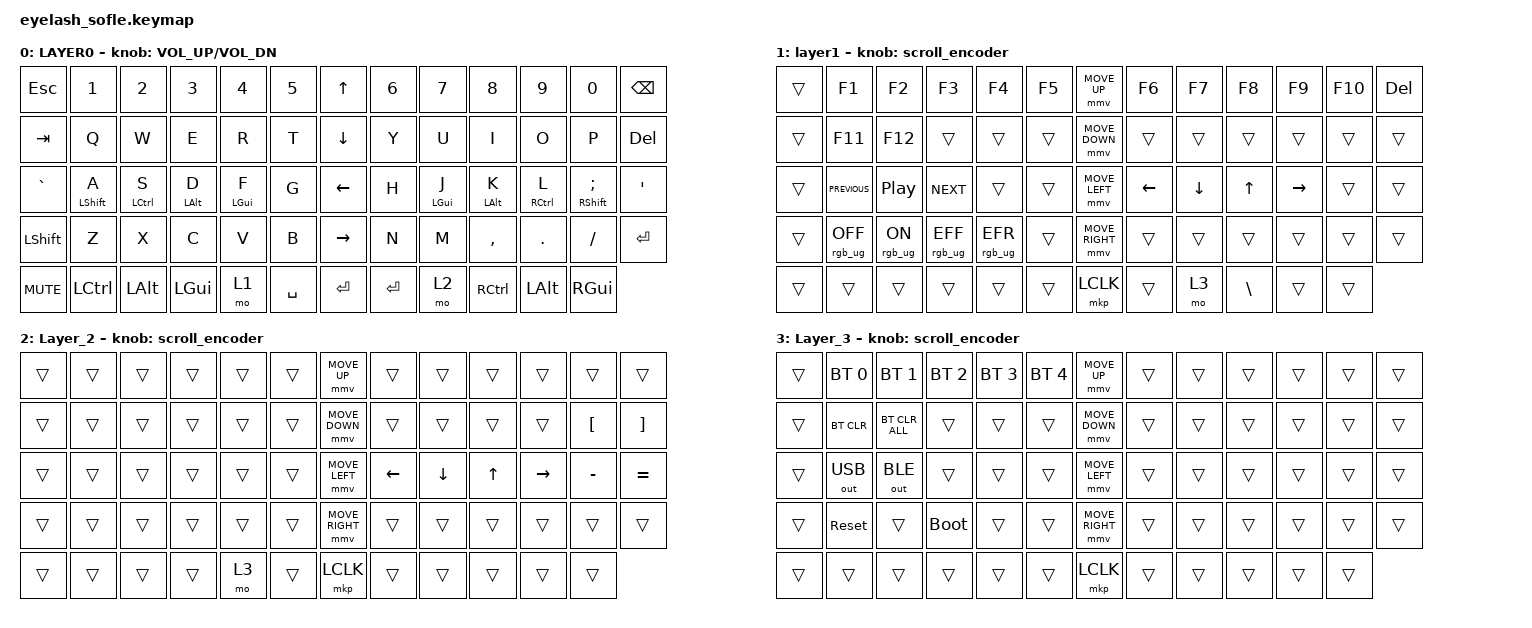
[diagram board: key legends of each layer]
#define ZMK_POINTING_DEFAULT_MOVE_VAL 1200  // 600
#define ZMK_POINTING_DEFAULT_SCRL_VAL 25   // 10

#include <input/processors.dtsi>
#include <zephyr/dt-bindings/input/input-event-codes.h>
#include <behaviors.dtsi>
#include <dt-bindings/zmk/bt.h>
#include <dt-bindings/zmk/keys.h>
#include <dt-bindings/zmk/outputs.h>
#include <dt-bindings/zmk/pointing.h>
#include <dt-bindings/zmk/rgb.h>

&mmv_input_listener { input-processors = <&zip_xy_scaler 2 1>; };

&msc_input_listener { input-processors = <&zip_scroll_scaler 2 1>; };

&msc {
    acceleration-exponent = <1>;      // 0
    time-to-max-speed-ms = <100>;       // 300
    delay-ms = <0>;                   // 0
};

&mmv {
    time-to-max-speed-ms = <500>;
    acceleration-exponent = <1>;
    trigger-period-ms = <16>;
};

&mt { flavor = "balanced"; };

/ {
    scroll_encoder: scroll_encoder {
        compatible = "zmk,behavior-sensor-rotate";
        #sensor-binding-cells = <0>;
        bindings = <&msc SCRL_DOWN>, <&msc SCRL_UP>;

        tap-ms = <100>;
    };

    behaviors {
    };

    keymap {
        compatible = "zmk,keymap";

        Layer_0 {
            bindings = <
&kp ESC     &kp N1            &kp N2              &kp N3          &kp N4          &kp N5       &kp UP_ARROW     &kp N6   &kp N7          &kp N8             &kp N9               &kp N0                     &kp BACKSPACE
&kp TAB     &kp Q             &kp W               &kp E           &kp R           &kp T        &kp DOWN_ARROW   &kp Y    &kp U           &kp I              &kp O                &kp P                      &kp DELETE
&kp GRAVE   &mt LEFT_SHIFT A  &mt LEFT_CONTROL S  &mt LEFT_ALT D  &mt LEFT_GUI F  &kp G        &kp LEFT_ARROW   &kp H    &mt LEFT_GUI J  &mt LEFT_ALT K     &mt RIGHT_CONTROL L  &mt RIGHT_SHIFT SEMICOLON  &kp APOS
&kp LSHFT   &kp Z             &kp X               &kp C           &kp V           &kp B        &kp RIGHT_ARROW  &kp N    &kp M           &kp COMMA          &kp DOT              &kp FSLH                   &kp ENTER
&kp C_MUTE  &kp LCTRL         &kp LEFT_ALT        &kp LEFT_GUI    &mo 1           &kp SPACE    &kp ENTER        &kp RET  &mo 2           &kp RIGHT_CONTROL  &kp LEFT_ALT         &kp RIGHT_GUI
            >;

            sensor-bindings = <&inc_dec_kp C_VOLUME_UP C_VOL_DN>;
            display-name = "LAYER0";
        };

        Layer_1 {
            bindings = <
&trans  &kp F1           &kp F2            &kp F3           &kp F4           &kp F5    &mmv MOVE_UP     &kp F6    &kp F7    &kp F8         &kp F9     &kp F10  &kp DELETE
&trans  &kp F11          &kp F12           &trans           &trans           &trans    &mmv MOVE_DOWN   &trans    &trans    &trans         &trans     &trans   &trans
&trans  &kp C_PREVIOUS   &kp C_PLAY_PAUSE  &kp C_NEXT       &trans           &trans    &mmv MOVE_LEFT   &kp LEFT  &kp DOWN  &kp UP_ARROW   &kp RIGHT  &trans   &trans
&trans  &rgb_ug RGB_OFF  &rgb_ug RGB_ON    &rgb_ug RGB_EFF  &rgb_ug RGB_EFR  &trans    &mmv MOVE_RIGHT  &trans    &trans    &trans         &trans     &trans   &trans
&trans  &trans           &trans            &trans           &trans           &trans    &mkp LCLK        &trans    &mo 3     &kp BACKSLASH  &trans     &trans
            >;

            display-name = "layer1";
            sensor-bindings = <&scroll_encoder>;
        };

        Layer_2 {
            bindings = <
&trans  &trans  &trans  &trans  &trans  &trans    &mmv MOVE_UP     &trans    &trans          &trans        &trans     &trans            &trans
&trans  &trans  &trans  &trans  &trans  &trans    &mmv MOVE_DOWN   &trans    &trans          &trans        &trans     &kp LEFT_BRACKET  &kp RIGHT_BRACKET
&trans  &trans  &trans  &trans  &trans  &trans    &mmv MOVE_LEFT   &kp LEFT  &kp DOWN_ARROW  &kp UP_ARROW  &kp RIGHT  &kp MINUS         &kp EQUAL
&trans  &trans  &trans  &trans  &trans  &trans    &mmv MOVE_RIGHT  &trans    &trans          &trans        &trans     &trans            &trans
&trans  &trans  &trans  &trans  &mo 3   &trans    &mkp LCLK        &trans    &trans          &trans        &trans     &trans
            >;

            sensor-bindings = <&scroll_encoder>;
        };

        Layer_3 {
            bindings = <
&trans  &bt BT_SEL 0  &bt BT_SEL 1    &bt BT_SEL 2  &bt BT_SEL 3  &bt BT_SEL 4    &mmv MOVE_UP     &trans  &trans  &trans  &trans  &trans  &trans
&trans  &bt BT_CLR    &bt BT_CLR_ALL  &trans        &trans        &trans          &mmv MOVE_DOWN   &trans  &trans  &trans  &trans  &trans  &trans
&trans  &out OUT_USB  &out OUT_BLE    &trans        &trans        &trans          &mmv MOVE_LEFT   &trans  &trans  &trans  &trans  &trans  &trans
&trans  &sys_reset    &trans          &bootloader   &trans        &trans          &mmv MOVE_RIGHT  &trans  &trans  &trans  &trans  &trans  &trans
&trans  &trans        &trans          &trans        &trans        &trans          &mkp LCLK        &trans  &trans  &trans  &trans  &trans
            >;

            sensor-bindings = <&scroll_encoder>;
        };
    };
};
